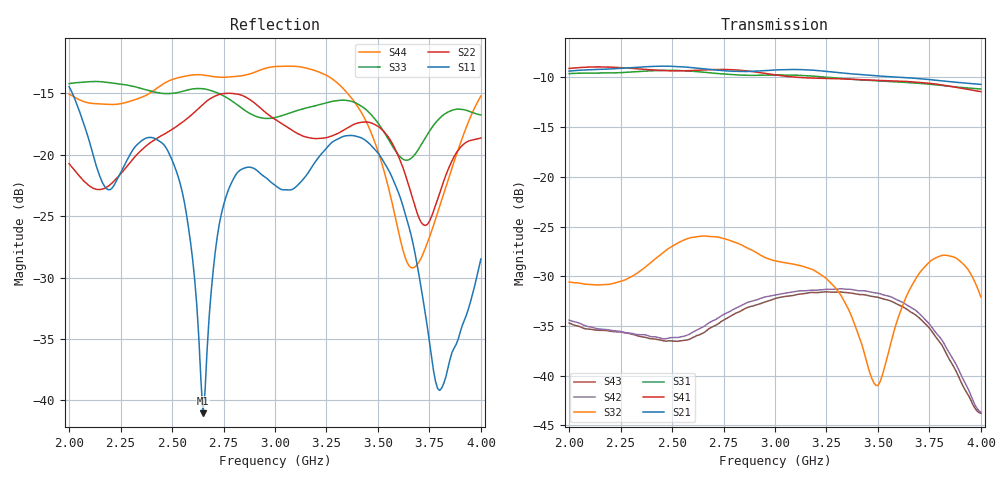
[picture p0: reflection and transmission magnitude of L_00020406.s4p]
!Agilent Technologies,N5224A,MY51441093,A.09.90.21
!Agilent N5224A: A.09.90.21
!Date: Friday, December 19, 2025 16:35:34
!Correction: S11(Full 4 Port(1,2,3,4))
!S12(Full 4 Port(1,2,3,4))
!S13(Full 4 Port(1,2,3,4))
!S14(Full 4 Port(1,2,3,4))
!S21(Full 4 Port(1,2,3,4))
!S22(Full 4 Port(1,2,3,4))
!S23(Full 4 Port(1,2,3,4))
!S24(Full 4 Port(1,2,3,4))
!S31(Full 4 Port(1,2,3,4))
!S32(Full 4 Port(1,2,3,4))
!S33(Full 4 Port(1,2,3,4))
!S34(Full 4 Port(1,2,3,4))
!S41(Full 4 Port(1,2,3,4))
!S42(Full 4 Port(1,2,3,4))
!S43(Full 4 Port(1,2,3,4))
!S44(Full 4 Port(1,2,3,4))
!S4P File: Measurements: <S11,S12,S13,S14>,
!<S21,S22,S23,S24>,
!<S31,S32,S33,S34>,
!<S41,S42,S43,S44>:
# Hz S  dB  R 50
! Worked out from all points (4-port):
!   201 points, 2 GHz to 4 GHz, reference 50 ohm
!   strongest paths, dB at 2 GHz, 2.5 GHz, 3 GHz, 3.5 GHz, 4 GHz:
!     S21: -9.4, -8.9, -9.3, -9.9, -10.7
!     S41: -9.1, -9.3, -9.7, -10.3, -11.4
!     S31: -9.6, -9.3, -9.7, -10.3, -11.2
!     S32: -30.6, -27.0, -28.4, -41.0, -32.1
!     S42: -34.4, -36.2, -31.9, -31.7, -43.7
!     S43: -34.7, -36.5, -32.2, -32.1, -43.8
!   lowest |S11| = -41.0 dB at 2.65 GHz (marker M1), VSWR 1.02, Z = 49.5 + j0.72 ohm
!   |S11| at or under -10 dB: start of sweep to end of sweep
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2e9  -14.46 -51.7  -9.36 -75.8  -9.57 -124.2  -9.21 -170.3
     -9.36 -75.8  -20.73 104.7  -30.52 -27.4  -34.52 -56.5
     -9.62 -124.0  -30.57 -27.2  -14.21 -5.7  -34.87 -105.6
     -9.09 -170.1  -34.41 -56.1  -34.70 -105.6  -15.05 3.9
2.5e9  -20.43 -101.2  -8.88 25.7  -9.22 -18.3  -9.46 -61.4
       -8.89 25.6  -17.93 -130.0  -26.93 -2.9  -36.31 177.3
       -9.29 -18.3  -26.99 -2.8  -15.00 -147.2  -36.69 134.8
       -9.34 -61.4  -36.16 177.4  -36.50 134.8  -13.88 -128.2
2.65e9  -41.05 124.8  -9.11 -50.7  -9.40 -94.6  -9.37 -135.4
        -9.13 -50.9  -15.90 -161.4  -25.90 -100.5  -35.23 53.2
        -9.47 -94.6  -25.95 -100.4  -14.63 179.3  -35.89 10.9
        -9.26 -135.3  -35.10 53.2  -35.72 11.0  -13.51 -169.7
2.84e9  -21.16 -32.8  -9.37 -144.1  -9.70 171.5  -9.39 128.0
        -9.40 -144.2  -15.17 152.1  -26.82 147.3  -33.03 -108.0
        -9.77 171.6  -26.87 147.5  -16.22 140.9  -33.60 -153.6
        -9.29 128.1  -32.91 -107.8  -33.42 -153.7  -13.56 150.9
3.27e9  -19.09 -70.4  -9.42 1.6  -9.93 -42.4  -10.19 -84.6
        -9.44 1.5  -18.50 109.0  -30.58 -67.5  -31.40 -120.2
        -10.01 -42.1  -30.66 -67.3  -15.68 90.6  -31.75 -164.5
        -10.12 -84.4  -31.31 -119.9  -31.58 -164.6  -13.73 44.6
3.67e9  -27.20 171.0  -10.07 165.5  -10.46 120.4  -10.49 75.1
        -10.07 165.5  -23.64 53.9  -30.64 -166.6  -33.31 -114.9
        -10.55 120.8  -30.73 -166.3  -20.16 57.3  -33.85 -157.5
        -10.45 75.5  -33.25 -114.6  -33.72 -157.5  -29.21 -157.7
4e9  -28.48 3.9  -10.68 4.7  -11.08 -41.6  -11.46 -91.2
     -10.70 4.8  -18.64 78.1  -32.02 -2.1  -43.81 -106.6
     -11.17 -41.1  -32.09 -1.7  -16.76 25.3  -43.98 -155.0
     -11.43 -90.5  -43.67 -106.4  -43.78 -155.1  -15.22 90.0
